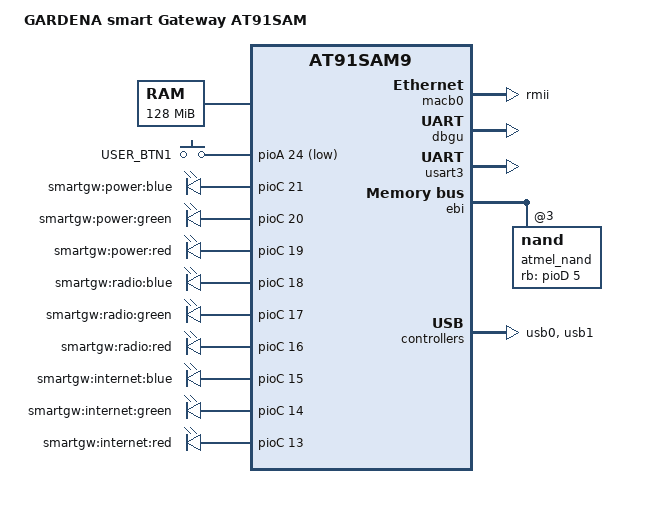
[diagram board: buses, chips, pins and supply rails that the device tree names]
/dts-v1/;
#include "at91sam9g25.dtsi"
#include <dt-bindings/input/input.h>

/ {
	model = "GARDENA smart Gateway AT91SAM";
	compatible = "gardena,at91sam", "atmel,at91sam9x5", "atmel,at91sam9";

	aliases {
		serial0 = &dbgu;
		serial1 = &usart3;
	};

	chosen {
		stdout-path = "serial0:115200n8";
	};

	memory {
		reg = <0x20000000 0x8000000>;
	};

	clocks {
		slow_xtal {
			clock-frequency = <32768>;
		};

		main_xtal {
			clock-frequency = <12000000>;
		};
	};

	ahb {
		apb {
			tcb0: timer@f8008000 {
				timer@0 {
					compatible = "atmel,tcb-timer";
					reg = <0>;
				};

				timer@1 {
					compatible = "atmel,tcb-timer";
					reg = <1>;
				};
			};

			rtc@fffffeb0 {
				status = "okay";
			};

			watchdog@fffffe40 {
				status = "okay";
			};

			macb0: ethernet@f802c000 {
				phy-mode = "rmii";
				status = "okay";
			};

			dbgu: serial@fffff200 {
				status = "okay";
			};

			usart3: serial@f8028000 {
				status = "okay";

				pinctrl-0 = <&pinctrl_usart3
					     &pinctrl_usart3_rts
					     &pinctrl_usart3_cts
					    >;
			};
		};

		ebi: ebi@10000000 {
			pinctrl-0 = <&pinctrl_ebi_addr_nand
				     &pinctrl_ebi_data_0_7>;
			pinctrl-names = "default";
			status = "okay";

			nand_controller: nand-controller {
				status = "okay";
				pinctrl-0 = <&pinctrl_nand_oe_we
					     &pinctrl_nand_cs
					     &pinctrl_nand_rb>;
				pinctrl-names = "default";

				nand@3 {
					reg = <0x3 0x0 0x800000>;
					rb-gpios = <&pioD 5 GPIO_ACTIVE_HIGH>;
					cs-gpios = <&pioD 4 GPIO_ACTIVE_HIGH>;
					nand-bus-width = <8>;
					nand-ecc-mode = "hw";
					nand-ecc-strength = <2>;
					nand-ecc-step-size = <512>;
					nand-on-flash-bbt;
					label = "atmel_nand";
				};
			};
		};

		usb0: ohci@600000 {
			status = "okay";
			num-ports = <3>;
		};

		usb1: ehci@700000 {
			status = "okay";
		};
	};

	gpio-keys {
		compatible = "gpio-keys";

		user_btn1 {
			label = "USER_BTN1";
			gpios = <&pioA 24 GPIO_ACTIVE_LOW>;
			linux,code = <KEY_PROG1>;
		};
	};

	leds {
		compatible = "gpio-leds";

		power_blue {
			label = "smartgw:power:blue";
			gpios = <&pioC 21 GPIO_ACTIVE_HIGH>;
			default-state = "off";
		};

		power_green {
			label = "smartgw:power:green";
			gpios = <&pioC 20 GPIO_ACTIVE_HIGH>;
			default-state = "on";
		};

		power_red {
			label = "smartgw:power:red";
			gpios = <&pioC 19 GPIO_ACTIVE_HIGH>;
			default-state = "off";
		};

		radio_blue {
			label = "smartgw:radio:blue";
			gpios = <&pioC 18 GPIO_ACTIVE_HIGH>;
			default-state = "off";
		};

		radio_green {
			label = "smartgw:radio:green";
			gpios = <&pioC 17 GPIO_ACTIVE_HIGH>;
			default-state = "off";
		};

		radio_red {
			label = "smartgw:radio:red";
			gpios = <&pioC 16 GPIO_ACTIVE_HIGH>;
			default-state = "off";
		};

		internet_blue {
			label = "smartgw:internet:blue";
			gpios = <&pioC 15 GPIO_ACTIVE_HIGH>;
			default-state = "off";
		};

		internet_green {
			label = "smartgw:internet:green";
			gpios = <&pioC 14 GPIO_ACTIVE_HIGH>;
			default-state = "off";
		};

		internet_red {
			label = "smartgw:internet:red";
			gpios = <&pioC 13 GPIO_ACTIVE_HIGH>;
			default-state = "off";
		};
	};
};
